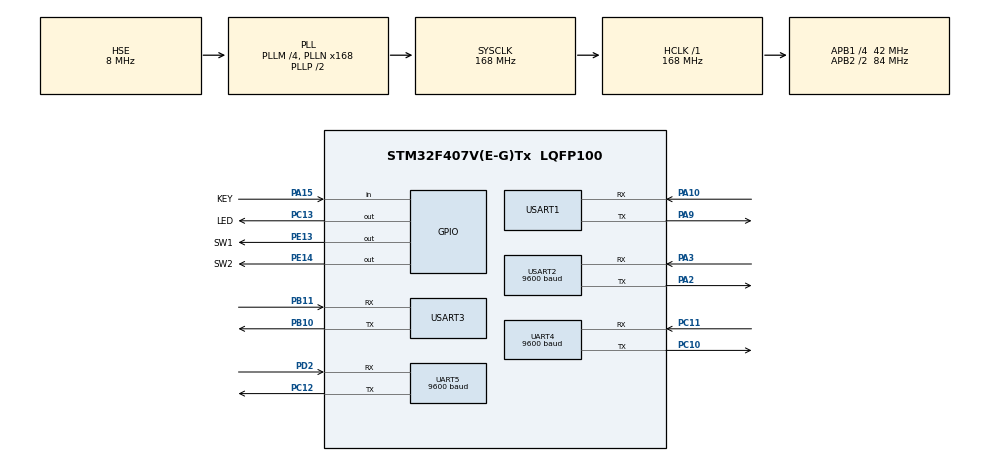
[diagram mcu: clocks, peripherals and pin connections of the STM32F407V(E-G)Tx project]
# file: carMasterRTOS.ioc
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Dma.Request0=USART1_RX
Dma.Request1=USART2_RX
Dma.Request2=UART5_RX
Dma.Request3=USART3_TX
Dma.Request4=UART4_RX
Dma.UART4_RX.4.Direction=DMA_PERIPH_TO_MEMORY
Dma.UART4_RX.4.FIFOMode=DMA_FIFOMODE_DISABLE
Dma.UART4_RX.4.Instance=DMA1_Stream2
Dma.UART4_RX.4.MemDataAlignment=DMA_MDATAALIGN_BYTE
Dma.UART4_RX.4.MemInc=DMA_MINC_ENABLE
Dma.UART4_RX.4.Mode=DMA_NORMAL
Dma.UART4_RX.4.PeriphDataAlignment=DMA_PDATAALIGN_BYTE
Dma.UART4_RX.4.PeriphInc=DMA_PINC_DISABLE
Dma.UART4_RX.4.Priority=DMA_PRIORITY_MEDIUM
Dma.UART5_RX.2.Direction=DMA_PERIPH_TO_MEMORY
Dma.UART5_RX.2.FIFOMode=DMA_FIFOMODE_DISABLE
Dma.UART5_RX.2.Instance=DMA1_Stream0
Dma.UART5_RX.2.MemDataAlignment=DMA_MDATAALIGN_BYTE
Dma.UART5_RX.2.MemInc=DMA_MINC_ENABLE
Dma.UART5_RX.2.Mode=DMA_NORMAL
Dma.UART5_RX.2.PeriphDataAlignment=DMA_PDATAALIGN_BYTE
Dma.UART5_RX.2.PeriphInc=DMA_PINC_DISABLE
Dma.UART5_RX.2.Priority=DMA_PRIORITY_MEDIUM
Dma.USART1_RX.0.Direction=DMA_PERIPH_TO_MEMORY
Dma.USART1_RX.0.FIFOMode=DMA_FIFOMODE_DISABLE
Dma.USART1_RX.0.Instance=DMA2_Stream2
Dma.USART1_RX.0.MemDataAlignment=DMA_MDATAALIGN_BYTE
Dma.USART1_RX.0.MemInc=DMA_MINC_ENABLE
Dma.USART1_RX.0.Mode=DMA_CIRCULAR
Dma.USART1_RX.0.PeriphDataAlignment=DMA_PDATAALIGN_BYTE
Dma.USART1_RX.0.PeriphInc=DMA_PINC_DISABLE
Dma.USART1_RX.0.Priority=DMA_PRIORITY_MEDIUM
Dma.USART2_RX.1.Direction=DMA_PERIPH_TO_MEMORY
Dma.USART2_RX.1.FIFOMode=DMA_FIFOMODE_DISABLE
Dma.USART2_RX.1.Instance=DMA1_Stream5
Dma.USART2_RX.1.MemDataAlignment=DMA_MDATAALIGN_BYTE
Dma.USART2_RX.1.MemInc=DMA_MINC_ENABLE
Dma.USART2_RX.1.Mode=DMA_NORMAL
Dma.USART2_RX.1.PeriphDataAlignment=DMA_PDATAALIGN_BYTE
Dma.USART2_RX.1.PeriphInc=DMA_PINC_DISABLE
Dma.USART2_RX.1.Priority=DMA_PRIORITY_HIGH
Dma.USART3_TX.3.Direction=DMA_MEMORY_TO_PERIPH
Dma.USART3_TX.3.FIFOMode=DMA_FIFOMODE_DISABLE
Dma.USART3_TX.3.Instance=DMA1_Stream3
Dma.USART3_TX.3.MemDataAlignment=DMA_MDATAALIGN_BYTE
Dma.USART3_TX.3.MemInc=DMA_MINC_ENABLE
Dma.USART3_TX.3.Mode=DMA_NORMAL
Dma.USART3_TX.3.PeriphDataAlignment=DMA_PDATAALIGN_BYTE
Dma.USART3_TX.3.PeriphInc=DMA_PINC_DISABLE
Dma.USART3_TX.3.Priority=DMA_PRIORITY_MEDIUM
FREERTOS.BinarySemaphores01=LaserRec,Dynamic,NULL;MotorBus,Dynamic,NULL
FREERTOS.Tasks01=LED,0,128,LEDTask,Default,NULL,Dynamic,NULL,NULL;Laser,1,128,LaserTask,As weak,NULL,Dynamic,NULL,NULL;IMU,1,128,IMUTask,As weak,NULL,Dynamic,NULL,NULL;control,-3,128,controlTask,As weak,NULL,Dynamic,NULL,NULL
Mcu.Family=STM32F4
Mcu.Name=STM32F407V(E-G)Tx
Mcu.Package=LQFP100
NVIC.DMA1_Stream0_IRQn=true\:5\:0\:false\:false\:true\:true\:false\:true\:true
NVIC.DMA1_Stream2_IRQn=true\:5\:0\:false\:false\:true\:true\:false\:true\:true
NVIC.DMA1_Stream3_IRQn=true\:5\:0\:false\:false\:true\:true\:false\:true\:true
NVIC.DMA1_Stream5_IRQn=true\:5\:0\:false\:false\:true\:true\:false\:true\:true
NVIC.DMA2_Stream2_IRQn=true\:5\:0\:false\:false\:true\:true\:false\:true\:true
NVIC.PriorityGroup=NVIC_PRIORITYGROUP_4
NVIC.TIM6_DAC_IRQn=true\:15\:0\:false\:false\:true\:false\:false\:true\:true
NVIC.TIM8_TRG_COM_TIM14_IRQn=true\:5\:0\:false\:false\:true\:true\:true\:true\:true
NVIC.TIM8_UP_TIM13_IRQn=true\:5\:0\:false\:false\:true\:true\:true\:true\:true
NVIC.TimeBase=TIM6_DAC_IRQn
NVIC.TimeBaseIP=TIM6
NVIC.UART4_IRQn=true\:5\:0\:false\:false\:true\:true\:true\:true\:true
NVIC.UART5_IRQn=true\:5\:0\:false\:false\:true\:true\:true\:true\:true
NVIC.USART1_IRQn=true\:5\:0\:false\:false\:true\:true\:true\:true\:true
NVIC.USART2_IRQn=true\:5\:0\:false\:false\:true\:true\:true\:true\:true
NVIC.USART3_IRQn=true\:5\:0\:false\:false\:true\:true\:true\:true\:true
PA10.Mode=Asynchronous
PA10.Signal=USART1_RX
PA13.Mode=Serial_Wire
PA13.Signal=SYS_JTMS-SWDIO
PA14.Mode=Serial_Wire
PA14.Signal=SYS_JTCK-SWCLK
PA15.GPIO_Label=KEY
PA15.GPIO_PuPd=GPIO_PULLUP
PA15.Signal=GPIO_Input
PA2.Mode=Asynchronous
PA2.Signal=USART2_TX
PA3.Mode=Asynchronous
PA3.Signal=USART2_RX
PA9.Mode=Asynchronous
PA9.Signal=USART1_TX
PB10.Mode=Asynchronous
PB10.Signal=USART3_TX
PB11.Mode=Asynchronous
PB11.Signal=USART3_RX
PC10.Mode=Asynchronous
PC10.Signal=UART4_TX
PC11.Mode=Asynchronous
PC11.Signal=UART4_RX
PC12.Mode=Asynchronous
PC12.Signal=UART5_TX
PC13-ANTI_TAMP.GPIO_Label=LED
PC13-ANTI_TAMP.GPIO_PuPd=GPIO_PULLUP
PC13-ANTI_TAMP.Signal=GPIO_Output
PD2.Mode=Asynchronous
PD2.Signal=UART5_RX
PE13.GPIO_Label=SW1
PE13.GPIO_PuPd=GPIO_PULLUP
PE13.Signal=GPIO_Output
PE14.GPIO_Label=SW2
PE14.GPIO_PuPd=GPIO_PULLUP
PE14.Signal=GPIO_Output
PH0-OSC_IN.Mode=HSE-External-Oscillator
PH0-OSC_IN.Signal=RCC_OSC_IN
PH1-OSC_OUT.Mode=HSE-External-Oscillator
PH1-OSC_OUT.Signal=RCC_OSC_OUT
ProjectManager.HeapSize=0x2000
ProjectManager.StackSize=0x4000
ProjectManager.TargetToolchain=MDK-ARM V5.32
RCC.48MHZClocksFreq_Value=84000000
RCC.AHBFreq_Value=168000000
RCC.APB1CLKDivider=RCC_HCLK_DIV4
RCC.APB1Freq_Value=42000000
RCC.APB1TimFreq_Value=84000000
RCC.APB2CLKDivider=RCC_HCLK_DIV2
RCC.APB2Freq_Value=84000000
RCC.APB2TimFreq_Value=168000000
RCC.CortexFreq_Value=168000000
RCC.HCLKFreq_Value=168000000
RCC.HSE_VALUE=8000000
RCC.HSI_VALUE=16000000
RCC.LSE_VALUE=32768
RCC.PLLM=4
RCC.PLLN=168
RCC.PLLSourceVirtual=RCC_PLLSOURCE_HSE
RCC.SYSCLKFreq_VALUE=168000000
RCC.SYSCLKSource=RCC_SYSCLKSOURCE_PLLCLK
RCC.VCOOutputFreq_Value=336000000
TIM13.Period=1000-1
TIM13.Prescaler=84-1
TIM14.AutoReloadPreload=TIM_AUTORELOAD_PRELOAD_ENABLE
TIM14.Period=1000-1
TIM14.Prescaler=84-1
UART4.BaudRate=9600
UART4.VirtualMode=Asynchronous
UART5.BaudRate=9600
UART5.VirtualMode=Asynchronous
USART1.VirtualMode=VM_ASYNC
USART2.BaudRate=9600
USART2.VirtualMode=VM_ASYNC
USART3.VirtualMode=VM_ASYNC
VP_FREERTOS_VS_CMSIS_V1.Mode=CMSIS_V1
VP_SYS_VS_tim6.Mode=TIM6
VP_TIM13_VS_ClockSourceINT.Mode=Enable_Timer
VP_TIM14_VS_ClockSourceINT.Mode=Enable_Timer
board=custom

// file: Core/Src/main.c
/* USER CODE BEGIN Header */
/**
  ******************************************************************************
  * @file           : main.c
  * @brief          : Main program body
  ******************************************************************************
  * @attention
  *
  * Copyright (c) 2023 STMicroelectronics.
  * All rights reserved.
  *
  * This software is licensed under terms that can be found in the LICENSE file
  * in the root directory of this software component.
  * If no LICENSE file comes with this software, it is provided AS-IS.
  *
  ******************************************************************************
  */
/* USER CODE END Header */
#include "main.h"
#include "cmsis_os.h"
#include "dma.h"
#include "tim.h"
#include "usart.h"
#include "gpio.h"

/* USER CODE BEGIN Includes */
#include "key.h"
#include "laser.h"
#include "motor_task.h"
#include "NiMotionMotorSDK.h"
#include "NiMotionTest.h"
#include "modbus.h"
#include "led.h"
/* USER CODE END Includes */

/* USER CODE BEGIN PV */
extern osSemaphoreId LaserRecHandle;
extern osSemaphoreId MotorBusHandle;
uint8_t uart3_res;
/* USER CODE END PV */

void SystemClock_Config(void);
void MX_FREERTOS_Init(void);

/* USER CODE BEGIN 0 */
//uint8_t g_Uart2RxByte;

void HAL_UART_RxCpltCallback(UART_HandleTypeDef *huart)
{
	if(huart == &huart3)
	{

		if(RS485_RX_CNT<64)
		{
			RS485_RX_BUF[RS485_RX_CNT]=uart3_res;		//记录接收到的值
			RS485_RX_CNT++;						//接收数据增加1
			__HAL_TIM_SetCounter(&htim13,0);
			HAL_TIM_Base_Start_IT(&htim13);
		}
		HAL_UART_Receive_IT(&huart3,&uart3_res,1);
	}
}
void HAL_UARTEx_RxEventCallback(UART_HandleTypeDef *huart, uint16_t Size)
{
	if(huart->Instance == huart2.Instance)
	{
		LaserSerial2DataL(LaserRxBuffer1);
		HAL_UARTEx_ReceiveToIdle_DMA(&huart2,LaserRxBuffer1,LaserDataLen);
	}

//	if(huart->Instance == huart3.Instance)
//	{
//
//		xSemaphoreGiveFromISR(MotorBusHandle,NULL);
//		HAL_UARTEx_ReceiveToIdle_DMA(&huart3,MotorRxBuffer,MotorBufLen);
//	}

	if(huart->Instance == huart4.Instance)
	{
		LaserSerial2DataL(LaserRxBuffer2);
		HAL_UARTEx_ReceiveToIdle_DMA(&huart4,LaserRxBuffer2,LaserDataLen);
	}

	if(huart->Instance == huart5.Instance)
	{
		LaserSerial2DataL(LaserRxBuffer3);
		HAL_UARTEx_ReceiveToIdle_DMA(&huart5,LaserRxBuffer3,LaserDataLen);
	}

}

/* USER CODE END 0 */

int main(void)
{

  /* MCU Configuration--------------------------------------------------------*/

  /* Reset of all peripherals, Initializes the Flash interface and the Systick. */
  HAL_Init();

  /* Configure the system clock */
  SystemClock_Config();

  /* Initialize all configured peripherals */
  MX_GPIO_Init();
  MX_DMA_Init();
  MX_USART1_UART_Init();
  MX_USART2_UART_Init();
  MX_USART3_UART_Init();
  MX_UART5_Init();
  MX_UART4_Init();
  MX_TIM13_Init();
  MX_TIM14_Init();
  /* USER CODE BEGIN 2 */
	HAL_UART_Receive_IT(&huart3,&uart3_res,1);
	HAL_TIM_Base_Start_IT(&htim14);
	HAL_TIM_Base_Start_IT(&htim13);
  /* USER CODE END 2 */

  /* Call init function for freertos objects (in freertos.c) */
  MX_FREERTOS_Init();

  /* Start scheduler */
  osKernelStart();

  /* We should never get here as control is now taken by the scheduler */
  /* Infinite loop */
  while (1)
  {

  }
}

void SystemClock_Config(void)
{
  RCC_OscInitTypeDef RCC_OscInitStruct = {0};
  RCC_ClkInitTypeDef RCC_ClkInitStruct = {0};

  /** Configure the main internal regulator output voltage
  */
  __HAL_RCC_PWR_CLK_ENABLE();
  __HAL_PWR_VOLTAGESCALING_CONFIG(PWR_REGULATOR_VOLTAGE_SCALE1);

  /** Initializes the RCC Oscillators according to the specified parameters
  * in the RCC_OscInitTypeDef structure.
  */
  RCC_OscInitStruct.OscillatorType = RCC_OSCILLATORTYPE_HSE;
  RCC_OscInitStruct.HSEState = RCC_HSE_ON;
  RCC_OscInitStruct.PLL.PLLState = RCC_PLL_ON;
  RCC_OscInitStruct.PLL.PLLSource = RCC_PLLSOURCE_HSE;
  RCC_OscInitStruct.PLL.PLLM = 4;
  RCC_OscInitStruct.PLL.PLLN = 168;
  RCC_OscInitStruct.PLL.PLLP = RCC_PLLP_DIV2;
  RCC_OscInitStruct.PLL.PLLQ = 4;
  if (HAL_RCC_OscConfig(&RCC_OscInitStruct) != HAL_OK)
  {
    Error_Handler();
  }

  /** Initializes the CPU, AHB and APB buses clocks
  */
  RCC_ClkInitStruct.ClockType = RCC_CLOCKTYPE_HCLK|RCC_CLOCKTYPE_SYSCLK
                              |RCC_CLOCKTYPE_PCLK1|RCC_CLOCKTYPE_PCLK2;
  RCC_ClkInitStruct.SYSCLKSource = RCC_SYSCLKSOURCE_PLLCLK;
  RCC_ClkInitStruct.AHBCLKDivider = RCC_SYSCLK_DIV1;
  RCC_ClkInitStruct.APB1CLKDivider = RCC_HCLK_DIV4;
  RCC_ClkInitStruct.APB2CLKDivider = RCC_HCLK_DIV2;

  if (HAL_RCC_ClockConfig(&RCC_ClkInitStruct, FLASH_LATENCY_5) != HAL_OK)
  {
    Error_Handler();
  }
}

void HAL_TIM_PeriodElapsedCallback(TIM_HandleTypeDef *htim)
{
  if (htim->Instance == TIM6) {
    HAL_IncTick();
  }
  /* USER CODE BEGIN Callback 1 */
	if(htim->Instance == htim14.Instance)
	{
		static int TimeCnt = 0;
		Led_Flash(500);
		Timer++;//1MS中断
		TimeCnt++;
		if(TimeCnt>50)//500ms
		{
			CntFlag=1;

			if(*CurrentPostion==*TAGPostion)
			{
				ActionFlag=0;
			}
			TimeCnt=0;
		}
	}

	if (htim == &htim13)
	{
		RTU_FLAG = 1;
//		HAL_TIM_Base_Stop_IT(&htim13);
	}
  /* USER CODE END Callback 1 */
}

void Error_Handler(void)
{
  __disable_irq();
  while (1)
  {
  }
}

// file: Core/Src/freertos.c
/* USER CODE BEGIN Header */
/**
  ******************************************************************************
  * File Name          : freertos.c
  * Description        : Code for freertos applications
  ******************************************************************************
  * @attention
  *
  * Copyright (c) 2023 STMicroelectronics.
  * All rights reserved.
  *
  * This software is licensed under terms that can be found in the LICENSE file
  * in the root directory of this software component.
  * If no LICENSE file comes with this software, it is provided AS-IS.
  *
  ******************************************************************************
  */
/* USER CODE END Header */

#include "FreeRTOS.h"
#include "task.h"
#include "main.h"
#include "cmsis_os.h"

/* USER CODE BEGIN Includes */
#include "led.h"
/* USER CODE END Includes */

/* USER CODE BEGIN Variables */
osThreadId MotorHandle;

/* USER CODE END Variables */
osThreadId LEDHandle;
osThreadId LaserHandle;
osThreadId IMUHandle;
osThreadId controlHandle;
osSemaphoreId LaserRecHandle;
osSemaphoreId MotorBusHandle;

/* USER CODE BEGIN FunctionPrototypes */
void MotorTask(void const * argument);
/* USER CODE END FunctionPrototypes */

void LEDTask(void const * argument);
void LaserTask(void const * argument);
void IMUTask(void const * argument);
void controlTask(void const * argument);

void MX_FREERTOS_Init(void); /* (MISRA C 2004 rule 8.1) */

/* GetIdleTaskMemory prototype (linked to static allocation support) */
void vApplicationGetIdleTaskMemory( StaticTask_t **ppxIdleTaskTCBBuffer, StackType_t **ppxIdleTaskStackBuffer, uint32_t *pulIdleTaskStackSize );

/* USER CODE BEGIN GET_IDLE_TASK_MEMORY */
static StaticTask_t xIdleTaskTCBBuffer;
static StackType_t xIdleStack[configMINIMAL_STACK_SIZE];

void vApplicationGetIdleTaskMemory( StaticTask_t **ppxIdleTaskTCBBuffer, StackType_t **ppxIdleTaskStackBuffer, uint32_t *pulIdleTaskStackSize )
{
  *ppxIdleTaskTCBBuffer = &xIdleTaskTCBBuffer;
  *ppxIdleTaskStackBuffer = &xIdleStack[0];
  *pulIdleTaskStackSize = configMINIMAL_STACK_SIZE;
  /* place for user code */
}
/* USER CODE END GET_IDLE_TASK_MEMORY */

void MX_FREERTOS_Init(void) {

  /* Create the semaphores(s) */
  /* definition and creation of LaserRec */
  osSemaphoreDef(LaserRec);
  LaserRecHandle = osSemaphoreCreate(osSemaphore(LaserRec), 1);

  /* definition and creation of MotorBus */
  osSemaphoreDef(MotorBus);
  MotorBusHandle = osSemaphoreCreate(osSemaphore(MotorBus), 1);

  /* Create the thread(s) */
  /* definition and creation of LED */
  osThreadDef(LED, LEDTask, osPriorityNormal, 0, 128);
  LEDHandle = osThreadCreate(osThread(LED), NULL);

  /* definition and creation of Laser */
  osThreadDef(Laser, LaserTask, osPriorityAboveNormal, 0, 128);
  LaserHandle = osThreadCreate(osThread(Laser), NULL);

  /* definition and creation of IMU */
  osThreadDef(IMU, IMUTask, osPriorityAboveNormal, 0, 128);
  IMUHandle = osThreadCreate(osThread(IMU), NULL);

  /* definition and creation of control */
  osThreadDef(control, controlTask, osPriorityIdle, 0, 128);
  controlHandle = osThreadCreate(osThread(control), NULL);

  /* USER CODE BEGIN RTOS_THREADS */
  /* add threads, ... */
	osThreadDef(Motor, MotorTask, osPriorityLow, 0, 256);
  MotorHandle = osThreadCreate(osThread(Motor), NULL);
  /* USER CODE END RTOS_THREADS */

}

void LEDTask(void const * argument)
{
  /* USER CODE BEGIN LEDTask */
  /* Infinite loop */

  for(;;)
  {

//		Led_Flash(500);
    osDelay(1);
  }
  /* USER CODE END LEDTask */
}

__weak void LaserTask(void const * argument)
{
  for(;;)
  {
    osDelay(1);
  }
}

__weak void IMUTask(void const * argument)
{
  for(;;)
  {
    osDelay(1);
  }
}

__weak void controlTask(void const * argument)
{
  for(;;)
  {
    osDelay(1);
  }
}

/* USER CODE BEGIN Application */
__weak void MotorTask(void const * argument)
{
  for(;;)
  {
    osDelay(1);
  }
}
/* USER CODE END Application */
